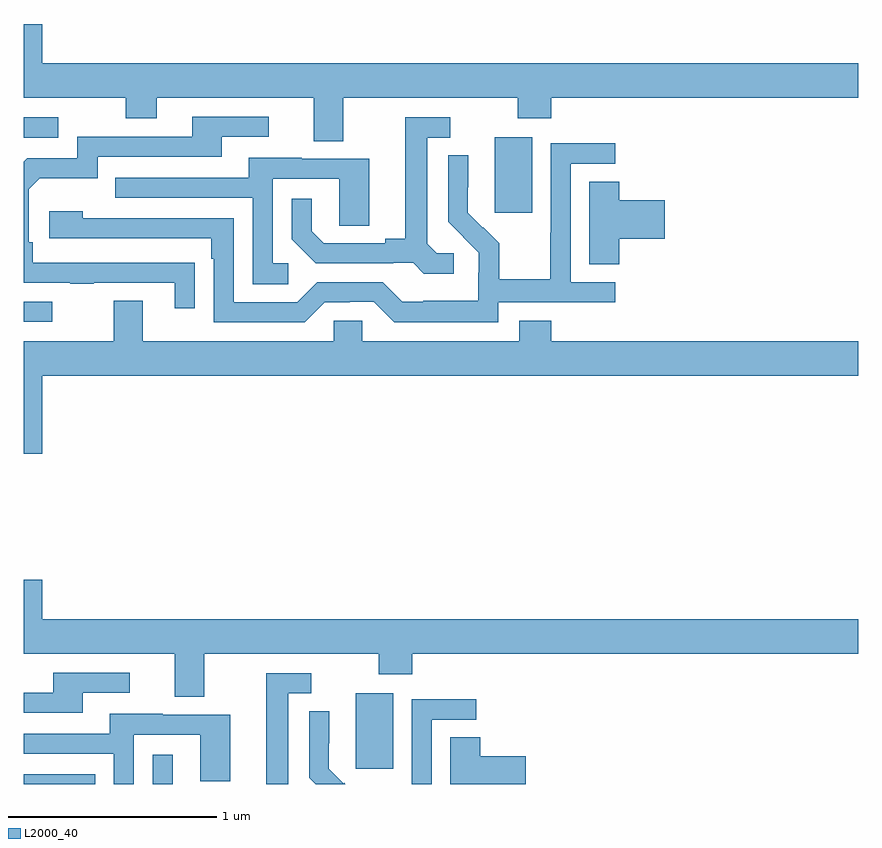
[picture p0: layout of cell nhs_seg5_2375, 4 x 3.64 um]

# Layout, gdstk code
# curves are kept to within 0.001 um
import gdstk
lib = gdstk.Library(unit=1e-6, precision=1e-09)
def R(c, l, rs):  # rectangles x0, y0, x1, y1
    for r in rs: c.add(gdstk.rectangle(r[:2], r[2:], *l))
def P(c, l, *ps):  # polygons
    for p in ps: c.add(gdstk.Polygon(p, *l))
L2000_40 = (2000, 40)

nhs_seg5_2375 = lib.new_cell('nhs_seg5_2375')
R(nhs_seg5_2375, L2000_40, [(249,858.799,249.342,858.846), (249.618,858.799,249.715,858.94), (250.592,858.873,250.771,859.234), (249,861.015,249.136,861.111), (251.258,861.537,251.437,861.898), (249,861.897,249.166,861.993)])
P(nhs_seg5_2375, L2000_40, [(250.531,862.088),(251.368,862.088),(251.368,861.989),(251.528,861.989),(251.528,862.088),(253,862.088),(253,862.252),(249.088,862.252),(249.088,862.441),(249,862.441),(249,862.088),(249.49,862.088),(249.49,861.989),(249.637,861.989),(249.637,862.088),(250.391,862.088),(250.391,861.88),(250.531,861.88)],
  [(249.821,861.296),(249.044,861.297),(249.044,861.394),(249.024,861.394),(249.024,861.648),(249.077,861.701),(249.354,861.701),(249.354,861.804),(249.949,861.804),(249.949,861.9),(250.174,861.9),(250.174,861.996),(249.809,861.996),(249.809,861.9),(249.258,861.9),(249.258,861.798),(249.018,861.798),(249,861.78),(249,861.201),(249.223,861.201),(249.223,861.196),(249.335,861.196),(249.335,861.201),(249.725,861.201),(249.725,861.078),(249.821,861.078)],
  [(251.062,861.342),(250.98,861.342),(250.933,861.389),(250.933,861.897),(251.044,861.897),(251.044,861.993),(250.829,861.993),(250.829,861.413),(250.733,861.413),(250.733,861.39),(250.438,861.39),(250.381,861.447),(250.381,861.604),(250.284,861.604),(250.284,861.41),(250.4,861.294),(250.772,861.294),(250.772,861.297),(250.866,861.297),(250.918,861.245),(251.062,861.245)],
  [(251.274,861.108),(251.836,861.108),(251.836,861.204),(251.622,861.204),(251.622,861.771),(251.836,861.771),(251.836,861.87),(251.526,861.87),(251.526,861.44),(251.524,861.44),(251.524,861.217),(251.279,861.217),(251.279,861.391),(251.202,861.468),(251.199,861.465),(251.129,861.536),(251.13,861.812),(251.034,861.812),(251.034,861.494),(251.18,861.346),(251.18,861.249),(251.178,861.249),(251.178,861.115),(250.915,861.115),(250.915,861.111),(250.815,861.111),(250.722,861.204),(250.407,861.204),(250.311,861.108),(250.008,861.108),(250.008,861.51),(249.284,861.51),(249.284,861.544),(249.123,861.544),(249.123,861.414),(249.899,861.414),(249.899,861.317),(249.912,861.317),(249.912,861.012),(250.347,861.012),(250.443,861.108),(250.562,861.108),(250.562,861.111),(250.677,861.111),(250.777,861.011),(251.274,861.011)],
  [(250.267,861.294),(250.194,861.294),(250.194,861.699),(250.512,861.699),(250.512,861.475),(250.657,861.475),(250.657,861.795),(250.333,861.795),(250.333,861.799),(250.079,861.799),(250.079,861.705),(249.439,861.705),(249.439,861.609),(250.098,861.609),(250.098,861.193),(250.267,861.193)],
  [(251.855,861.413),(252.073,861.413),(252.073,861.596),(251.855,861.596),(251.855,861.686),(251.711,861.686),(251.711,861.289),(251.855,861.289)],
  [(249.088,860.756),(253,860.756),(253,860.92),(251.528,860.92),(251.528,861.019),(251.375,861.019),(251.375,860.92),(250.623,860.92),(250.623,861.018),(250.485,861.018),(250.485,860.92),(249.571,860.92),(249.571,861.115),(249.431,861.115),(249.431,860.92),(249,860.92),(249,860.382),(249.088,860.382)],
  [(249.865,859.424),(250.702,859.424),(250.702,859.325),(250.862,859.325),(250.862,859.424),(253,859.424),(253,859.588),(249.088,859.588),(249.088,859.777),(249,859.777),(249,859.424),(249.725,859.424),(249.725,859.216),(249.865,859.216)],
  [(249.283,859.236),(249.508,859.236),(249.508,859.332),(249.143,859.332),(249.143,859.236),(249,859.236),(249,859.14),(249.283,859.14)],
  [(250.267,859.233),(250.378,859.233),(250.378,859.329),(250.163,859.329),(250.163,858.799),(250.267,858.799)],
  [(250.956,859.107),(251.17,859.107),(251.17,859.206),(250.86,859.206),(250.86,858.799),(250.956,858.799)],
  [(250.536,858.804),(250.533,858.801),(250.463,858.872),(250.463,858.994),(250.464,858.994),(250.464,859.148),(250.368,859.148),(250.368,858.83),(250.399,858.799),(250.541,858.799)],
  [(249.528,859.035),(249.846,859.035),(249.846,858.811),(249.991,858.811),(249.991,859.131),(249.667,859.131),(249.667,859.135),(249.413,859.135),(249.413,859.041),(249,859.041),(249,858.945),(249.432,858.945),(249.432,858.799),(249.528,858.799)],
  [(251.407,858.932),(251.189,858.932),(251.189,859.022),(251.045,859.022),(251.045,858.799),(251.407,858.799)])

lib.write_gds('nhs_seg5_2375.gds')
